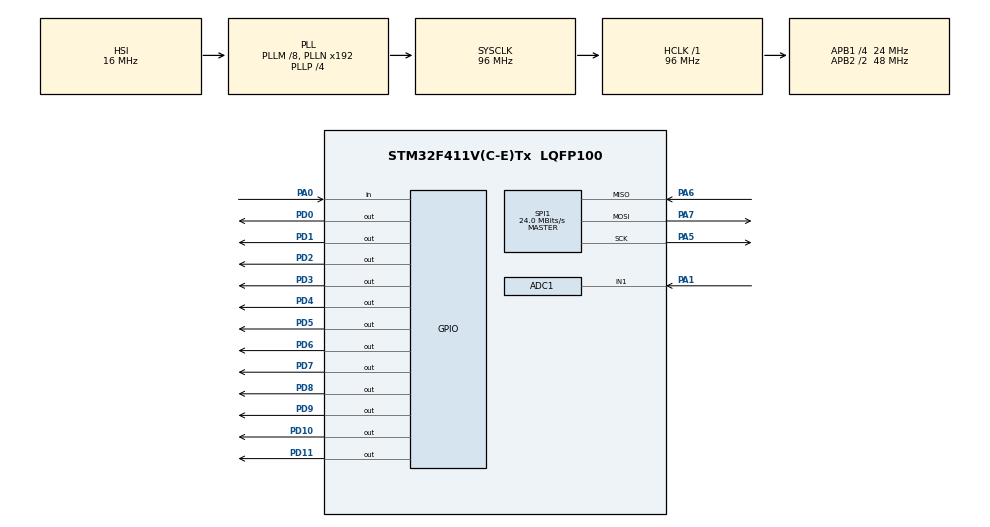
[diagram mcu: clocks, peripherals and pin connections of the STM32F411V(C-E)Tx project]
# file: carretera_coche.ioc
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ADC1.Channel-0\#ChannelRegularConversion=ADC_CHANNEL_1
ADC1.NbrOfConversionFlag=1
ADC1.Rank-0\#ChannelRegularConversion=1
ADC1.SamplingTime-0\#ChannelRegularConversion=ADC_SAMPLETIME_3CYCLES
ADC1.master=1
Mcu.Family=STM32F4
Mcu.Name=STM32F411V(C-E)Tx
Mcu.Package=LQFP100
NVIC.PriorityGroup=NVIC_PRIORITYGROUP_0
PA0-WKUP.Signal=GPIO_Input
PA1.Signal=ADCx_IN1
PA5.Mode=Full_Duplex_Master
PA5.Signal=SPI1_SCK
PA6.Mode=Full_Duplex_Master
PA6.Signal=SPI1_MISO
PA7.Mode=Full_Duplex_Master
PA7.Signal=SPI1_MOSI
PD0.Signal=GPIO_Output
PD1.Signal=GPIO_Output
PD10.Signal=GPIO_Output
PD11.Signal=GPIO_Output
PD2.Signal=GPIO_Output
PD3.Signal=GPIO_Output
PD4.Signal=GPIO_Output
PD5.Signal=GPIO_Output
PD6.Signal=GPIO_Output
PD7.Signal=GPIO_Output
PD8.Signal=GPIO_Output
PD9.Signal=GPIO_Output
ProjectManager.HeapSize=0x200
ProjectManager.StackSize=0x400
ProjectManager.TargetToolchain=STM32CubeIDE
RCC.48MHZClocksFreq_Value=48000000
RCC.AHBFreq_Value=96000000
RCC.APB1CLKDivider=RCC_HCLK_DIV4
RCC.APB1Freq_Value=24000000
RCC.APB1TimFreq_Value=48000000
RCC.APB2CLKDivider=RCC_HCLK_DIV2
RCC.APB2Freq_Value=48000000
RCC.APB2TimFreq_Value=96000000
RCC.CortexFreq_Value=96000000
RCC.HCLKFreq_Value=96000000
RCC.HSE_VALUE=8000000
RCC.HSI_VALUE=16000000
RCC.LSE_VALUE=32768
RCC.PLLI2SM=5
RCC.PLLI2SN=200
RCC.PLLM=8
RCC.PLLP=RCC_PLLP_DIV4
RCC.PLLQ=8
RCC.SYSCLKFreq_VALUE=96000000
RCC.SYSCLKSource=RCC_SYSCLKSOURCE_PLLCLK
RCC.VCOOutputFreq_Value=384000000
SH.ADCx_IN1.0=ADC1_IN1,IN1
SPI1.CalculateBaudRate=24.0 MBits/s
SPI1.Direction=SPI_DIRECTION_2LINES
SPI1.Mode=SPI_MODE_MASTER
SPI1.VirtualType=VM_MASTER
board=STM32F411E-DISCO

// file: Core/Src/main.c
/* USER CODE BEGIN Header */
/**
  ******************************************************************************
  * @file           : main.c
  * @brief          : Main program body
  ******************************************************************************
  * @attention
  *
  * Copyright (c) 2025 STMicroelectronics.
  * All rights reserved.
  *
  * This software is licensed under terms that can be found in the LICENSE file
  * in the root directory of this software component.
  * If no LICENSE file comes with this software, it is provided AS-IS.
  *
  ******************************************************************************
  */
/* USER CODE END Header */
#include "main.h"
#include "stm32f4xx_hal_adc.h"
#include "stm32f4xx_hal_spi.h"

#define JOYSTICK_LEFT_THRESHOLD 1000
#define JOYSTICK_RIGHT_THRESHOLD 3500
/* USER CODE BEGIN PD */
#define SEGMENT_COUNT 8
#define DIGIT_COUNT 4
/* USER CODE END PD */

SPI_HandleTypeDef hspi1;
ADC_HandleTypeDef hadc1;
volatile uint8_t car_position = 0x08; // Posición inicial del coche
volatile uint16_t score = 0; // Puntuación recibida
uint16_t segment_pins[SEGMENT_COUNT] = {GPIO_PIN_0, GPIO_PIN_1, GPIO_PIN_2, GPIO_PIN_3, GPIO_PIN_4, GPIO_PIN_5, GPIO_PIN_6, GPIO_PIN_7};
uint16_t digit_pins[DIGIT_COUNT];

void init_digit_pins() {
    digit_pins[0] = GPIO_PIN_11;
    digit_pins[1] = GPIO_PIN_10;
    digit_pins[2] = GPIO_PIN_9;
    digit_pins[3] = GPIO_PIN_8;
}

void SystemClock_Config(void);
static void MX_GPIO_Init(void);
static void MX_SPI1_Init(void);
static void MX_ADC1_Init(void);
void sendCarPosition(uint8_t position);
void updateDisplay(uint16_t value);

int main(void)
{

  /* MCU Configuration--------------------------------------------------------*/

  /* Reset of all peripherals, Initializes the Flash interface and the Systick. */
  HAL_Init();

  /* Configure the system clock */
  SystemClock_Config();

  /* Initialize all configured peripherals */
  MX_GPIO_Init();
  MX_SPI1_Init();
  MX_ADC1_Init();

  /* Infinite loop */
  /* USER CODE BEGIN WHILE */
  init_digit_pins();
  while (1)
  {
	uint32_t joystick_value = 0;
	uint8_t received_data = 0;

	// Inicia la conversión ADC
	HAL_ADC_Start(&hadc1);
	if (HAL_ADC_PollForConversion(&hadc1, HAL_MAX_DELAY) == HAL_OK)
	{
		joystick_value = HAL_ADC_GetValue(&hadc1);
	}
	HAL_ADC_Stop(&hadc1);

	// Control del coche basado en el valor del joystick
	if (joystick_value < JOYSTICK_LEFT_THRESHOLD) {
		if (car_position > 0x01) car_position = 1; // Mover a la izquierda
		//if (score > 0) score = score - 1; // para pruebas de display
	} else if (joystick_value > JOYSTICK_RIGHT_THRESHOLD) {
		if (car_position < 0x08) car_position = 2; // Mover a la derecha
		//score = score + 1; // para pruebas de display
	} else {
		car_position=0;
	}

	// Enviar y recibir datos a través de SPI
	HAL_SPI_TransmitReceive(&hspi1, &car_position, &received_data, 1, HAL_MAX_DELAY);
	score = received_data; // Actualiza la puntuación con el dato recibido (comentar para pruebas de display)

	// Actualizar el display
	updateDisplay(score);
	 //updateDisplay(score/10); // para pruebas

	HAL_Delay(5);
	/* USER CODE END WHILE */

  }
}

void SystemClock_Config(void)
{
  RCC_OscInitTypeDef RCC_OscInitStruct = {0};
  RCC_ClkInitTypeDef RCC_ClkInitStruct = {0};

  /** Configure the main internal regulator output voltage
  */
  __HAL_RCC_PWR_CLK_ENABLE();
  __HAL_PWR_VOLTAGESCALING_CONFIG(PWR_REGULATOR_VOLTAGE_SCALE1);

  /** Initializes the RCC Oscillators according to the specified parameters
  * in the RCC_OscInitTypeDef structure.
  */
  RCC_OscInitStruct.OscillatorType = RCC_OSCILLATORTYPE_HSI;
  RCC_OscInitStruct.HSIState = RCC_HSI_ON;
  RCC_OscInitStruct.HSICalibrationValue = RCC_HSICALIBRATION_DEFAULT;
  RCC_OscInitStruct.PLL.PLLState = RCC_PLL_ON;
  RCC_OscInitStruct.PLL.PLLSource = RCC_PLLSOURCE_HSI;
  RCC_OscInitStruct.PLL.PLLM = 8;
  RCC_OscInitStruct.PLL.PLLN = 192;
  RCC_OscInitStruct.PLL.PLLP = RCC_PLLP_DIV4;
  RCC_OscInitStruct.PLL.PLLQ = 8;
  if (HAL_RCC_OscConfig(&RCC_OscInitStruct) != HAL_OK)
  {
    Error_Handler();
  }

  /** Initializes the CPU, AHB and APB buses clocks
  */
  RCC_ClkInitStruct.ClockType = RCC_CLOCKTYPE_HCLK|RCC_CLOCKTYPE_SYSCLK
                              |RCC_CLOCKTYPE_PCLK1|RCC_CLOCKTYPE_PCLK2;
  RCC_ClkInitStruct.SYSCLKSource = RCC_SYSCLKSOURCE_PLLCLK;
  RCC_ClkInitStruct.AHBCLKDivider = RCC_SYSCLK_DIV1;
  RCC_ClkInitStruct.APB1CLKDivider = RCC_HCLK_DIV4;
  RCC_ClkInitStruct.APB2CLKDivider = RCC_HCLK_DIV2;

  if (HAL_RCC_ClockConfig(&RCC_ClkInitStruct, FLASH_LATENCY_3) != HAL_OK)
  {
    Error_Handler();
  }
}

static void MX_ADC1_Init(void)
{

  ADC_ChannelConfTypeDef sConfig = {0};

  /** Configure the global features of the ADC (Clock, Resolution, Data Alignment and number of conversion)
  */
  hadc1.Instance = ADC1;
  hadc1.Init.ClockPrescaler = ADC_CLOCK_SYNC_PCLK_DIV2;
  hadc1.Init.Resolution = ADC_RESOLUTION_12B;
  hadc1.Init.ScanConvMode = DISABLE;
  hadc1.Init.ContinuousConvMode = DISABLE;
  hadc1.Init.DiscontinuousConvMode = DISABLE;
  hadc1.Init.ExternalTrigConvEdge = ADC_EXTERNALTRIGCONVEDGE_NONE;
  hadc1.Init.ExternalTrigConv = ADC_SOFTWARE_START;
  hadc1.Init.DataAlign = ADC_DATAALIGN_RIGHT;
  hadc1.Init.NbrOfConversion = 1;
  hadc1.Init.DMAContinuousRequests = DISABLE;
  hadc1.Init.EOCSelection = ADC_EOC_SINGLE_CONV;
  if (HAL_ADC_Init(&hadc1) != HAL_OK)
  {
    Error_Handler();
  }

  /** Configure for the selected ADC regular channel its corresponding rank in the sequencer and its sample time.
  */
  sConfig.Channel = ADC_CHANNEL_1;
  sConfig.Rank = 1;
  sConfig.SamplingTime = ADC_SAMPLETIME_3CYCLES;
  if (HAL_ADC_ConfigChannel(&hadc1, &sConfig) != HAL_OK)
  {
    Error_Handler();
  }

}

static void MX_SPI1_Init(void)
{

  /* SPI1 parameter configuration*/
  hspi1.Instance = SPI1;
  hspi1.Init.Mode = SPI_MODE_MASTER;
  hspi1.Init.Direction = SPI_DIRECTION_2LINES;
  hspi1.Init.DataSize = SPI_DATASIZE_8BIT;
  hspi1.Init.CLKPolarity = SPI_POLARITY_LOW;
  hspi1.Init.CLKPhase = SPI_PHASE_1EDGE;
  hspi1.Init.NSS = SPI_NSS_SOFT;
  hspi1.Init.BaudRatePrescaler = SPI_BAUDRATEPRESCALER_2;
  hspi1.Init.FirstBit = SPI_FIRSTBIT_MSB;
  hspi1.Init.TIMode = SPI_TIMODE_DISABLE;
  hspi1.Init.CRCCalculation = SPI_CRCCALCULATION_DISABLE;
  hspi1.Init.CRCPolynomial = 10;
  if (HAL_SPI_Init(&hspi1) != HAL_OK)
  {
    Error_Handler();
  }

}

static void MX_GPIO_Init(void)
{
  GPIO_InitTypeDef GPIO_InitStruct = {0};

  /* GPIO Ports Clock Enable */
  __HAL_RCC_GPIOA_CLK_ENABLE();
  __HAL_RCC_GPIOD_CLK_ENABLE();

  /*Configure GPIO pin Output Level */
  HAL_GPIO_WritePin(GPIOD, GPIO_PIN_8|GPIO_PIN_9|GPIO_PIN_10|GPIO_PIN_11
                          |GPIO_PIN_0|GPIO_PIN_1|GPIO_PIN_2|GPIO_PIN_3
                          |GPIO_PIN_4|GPIO_PIN_5|GPIO_PIN_6|GPIO_PIN_7, GPIO_PIN_RESET);

  /*Configure GPIO pin : PA0 */
  GPIO_InitStruct.Pin = GPIO_PIN_0;
  GPIO_InitStruct.Mode = GPIO_MODE_INPUT;
  GPIO_InitStruct.Pull = GPIO_NOPULL;
  HAL_GPIO_Init(GPIOA, &GPIO_InitStruct);

  /*Configure GPIO pins : PD8 PD9 PD10 PD11
                           PD0 PD1 PD2 PD3
                           PD4 PD5 PD6 PD7 */
  GPIO_InitStruct.Pin = GPIO_PIN_8|GPIO_PIN_9|GPIO_PIN_10|GPIO_PIN_11
                          |GPIO_PIN_0|GPIO_PIN_1|GPIO_PIN_2|GPIO_PIN_3
                          |GPIO_PIN_4|GPIO_PIN_5|GPIO_PIN_6|GPIO_PIN_7;
  GPIO_InitStruct.Mode = GPIO_MODE_OUTPUT_PP;
  GPIO_InitStruct.Pull = GPIO_NOPULL;
  GPIO_InitStruct.Speed = GPIO_SPEED_FREQ_LOW;
  HAL_GPIO_Init(GPIOD, &GPIO_InitStruct);

}

/**
  * @brief Update the 7-segment display
  * @param value: Value to display
  * @retval None
  */
void updateDisplay(uint16_t value) {
    static const uint8_t segment_map[10] = {
        0b00111111, // 0
        0b00000110, // 1
        0b01011011, // 2
        0b01001111, // 3
        0b01100110, // 4
        0b01101101, // 5
        0b01111101, // 6
        0b00000111, // 7
        0b01111111, // 8
        0b01101111  // 9
    };

    uint8_t leading_zero = 1; // Para controlar los ceros a la izquierda

    for (int digit = DIGIT_COUNT - 1; digit >= 0; --digit) {
        // Apagar todos los dígitos antes de actualizar los segmentos
        for (int i = 0; i < DIGIT_COUNT; ++i) {
            HAL_GPIO_WritePin(GPIOD, digit_pins[i], GPIO_PIN_SET);
        }

        // Calcular el valor del dígito actual
        uint16_t divisor = 1;
        for (int i = 0; i < digit; ++i) {
            divisor *= 10;
        }

        uint8_t digit_value = (value / divisor) % 10;

        if (digit_value != 0 || digit == 0 || !leading_zero) {
            leading_zero = 0; // No más ceros a la izquierda
            uint8_t segments = segment_map[digit_value];

            // Configurar los segmentos para el dígito actual
            for (int i = 0; i < SEGMENT_COUNT; ++i) {
                HAL_GPIO_WritePin(GPIOD, segment_pins[i], (segments >> i) & 0x01);
            }
        } else {
            // Apagar todos los segmentos si es un cero irrelevante
            for (int i = 0; i < SEGMENT_COUNT; ++i) {
                HAL_GPIO_WritePin(GPIOD, segment_pins[i], GPIO_PIN_RESET);
            }
        }

        // Activar el dígito actual
        HAL_GPIO_WritePin(GPIOD, digit_pins[digit], GPIO_PIN_RESET);

        // Pausa para visualizar el dígito actual
        HAL_Delay(1);
    }
}

void Error_Handler(void)
{
  __disable_irq();
  while (1)
  {
  }
}
